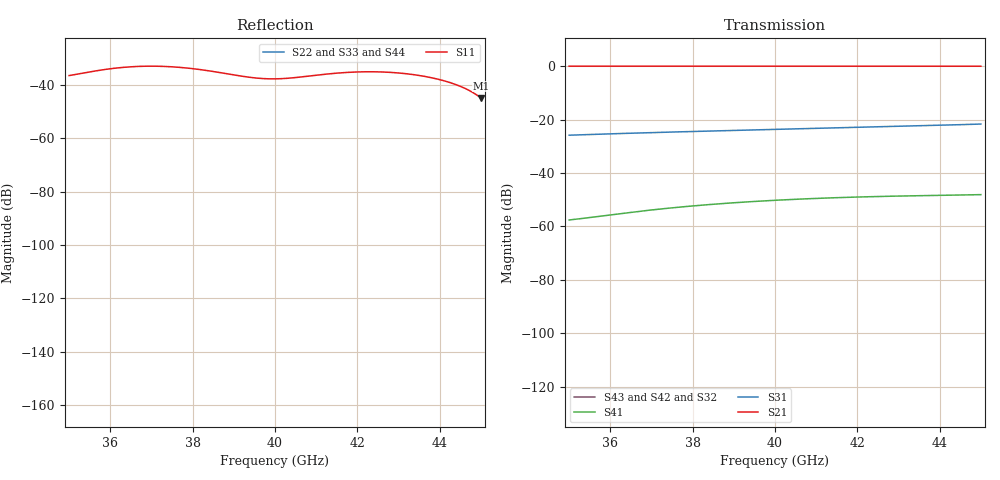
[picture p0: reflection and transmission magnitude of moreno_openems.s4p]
! Moreno cross-guide coupler, openEMS FDTD
! only column 1 (port 1 excited) and, by reciprocity, row 1 are simulated; other entries are zero
! S-parameters are normalised to each port's TE10 wave impedance (generalised
! S-matrix); 'R 50' below is only the placeholder the format requires.
! Reference planes: edges of the common a x a square.
# GHz S MA R 50
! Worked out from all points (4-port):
!   201 points, 35 GHz to 45 GHz, reference 50 ohm
!   strongest paths, dB at 35 GHz, 37.5 GHz, 40 GHz, 42.5 GHz, 45 GHz:
!     S21: 0.0, 0.0, 0.0, 0.0, 0.0
!     S31: -25.9, -24.7, -23.7, -22.7, -21.7
!     S41: -57.6, -53.1, -50.2, -48.8, -48.1
!     S43: -, -, -, -, -
!     S42: -, -, -, -, -
!     S32: -, -, -, -, -
!   lowest |S11| = -44.9 dB at 45 GHz (marker M1), VSWR 1.01, Z = 49.5 + j0.237 ohm
!   |S11| at or under -10 dB: start of sweep to end of sweep
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35  0.01491 -136.8  0.998 -161.4  0.05092 108.6  0.001315 115.4
    0.998 -161.4  0 0.0  0 0.0  0 0.0
    0.05092 108.6  0 0.0  0 0.0  0 0.0
    0.001315 115.4  0 0.0  0 0.0  0 0.0
36.8  0.02227 -86.4  0.9988 180.0  0.05636 90.0  0.00195 102.9
      0.9988 180.0  0 0.0  0 0.0  0 0.0
      0.05636 90.0  0 0.0  0 0.0  0 0.0
      0.00195 102.9  0 0.0  0 0.0  0 0.0
38.6  0.01728 -46.3  0.998 162.2  0.06145 72.2  0.00263 81.2
      0.998 162.2  0 0.0  0 0.0  0 0.0
      0.06145 72.2  0 0.0  0 0.0  0 0.0
      0.00263 81.2  0 0.0  0 0.0  0 0.0
39.95  0.01293 10.8  0.9978 149.3  0.06527 59.3  0.003063 63.6
       0.9978 149.3  0 0.0  0 0.0  0 0.0
       0.06527 59.3  0 0.0  0 0.0  0 0.0
       0.003063 63.6  0 0.0  0 0.0  0 0.0
42.75  0.0172 95.6  0.9975 123.1  0.07385 33.1  0.003659 27.8
       0.9975 123.1  0 0.0  0 0.0  0 0.0
       0.07385 33.1  0 0.0  0 0.0  0 0.0
       0.003659 27.8  0 0.0  0 0.0  0 0.0
44.1  0.01194 123.4  0.9965 110.7  0.07864 20.6  0.00382 11.1
      0.9965 110.7  0 0.0  0 0.0  0 0.0
      0.07864 20.6  0 0.0  0 0.0  0 0.0
      0.00382 11.1  0 0.0  0 0.0  0 0.0
45  0.005691 155.2  0.9963 102.5  0.08235 12.4  0.003926 -0.9
    0.9963 102.5  0 0.0  0 0.0  0 0.0
    0.08235 12.4  0 0.0  0 0.0  0 0.0
    0.003926 -0.9  0 0.0  0 0.0  0 0.0
